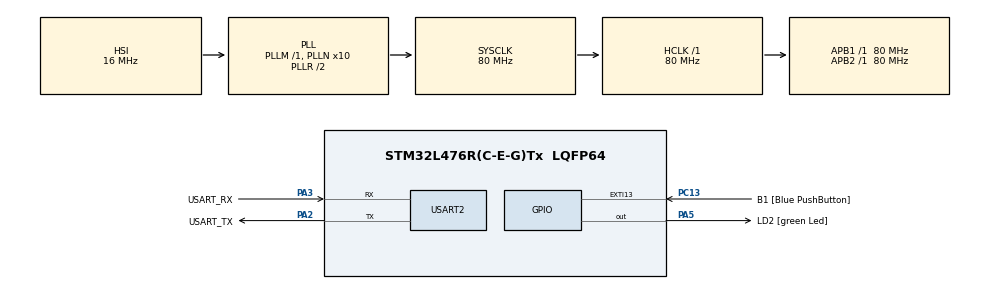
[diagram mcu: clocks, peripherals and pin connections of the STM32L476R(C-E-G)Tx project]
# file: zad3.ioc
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ARM.CMSIS-DSP.1.16.2.CMSISJjDSP=Source
Mcu.Family=STM32L4
Mcu.Name=STM32L476R(C-E-G)Tx
Mcu.Package=LQFP64
NVIC.PriorityGroup=NVIC_PRIORITYGROUP_4
PA13\ (JTMS-SWDIO).GPIO_Label=TMS
PA13\ (JTMS-SWDIO).Mode=Serial_Wire
PA13\ (JTMS-SWDIO).Signal=SYS_JTMS-SWDIO
PA14\ (JTCK-SWCLK).GPIO_Label=TCK
PA14\ (JTCK-SWCLK).Mode=Serial_Wire
PA14\ (JTCK-SWCLK).Signal=SYS_JTCK-SWCLK
PA2.GPIO_Label=USART_TX
PA2.GPIO_Mode=GPIO_MODE_AF_PP
PA2.GPIO_PuPd=GPIO_NOPULL
PA2.GPIO_Speed=GPIO_SPEED_FREQ_VERY_HIGH
PA2.Mode=Asynchronous
PA2.Signal=USART2_TX
PA3.GPIO_Label=USART_RX
PA3.GPIO_Mode=GPIO_MODE_AF_PP
PA3.GPIO_PuPd=GPIO_NOPULL
PA3.GPIO_Speed=GPIO_SPEED_FREQ_VERY_HIGH
PA3.Mode=Asynchronous
PA3.Signal=USART2_RX
PA5.GPIO_Label=LD2 [green Led]
PA5.GPIO_ModeDefaultOutputPP=GPIO_MODE_OUTPUT_PP
PA5.GPIO_PuPd=GPIO_NOPULL
PA5.GPIO_Speed=GPIO_SPEED_FREQ_LOW
PA5.Signal=GPIO_Output
PB3\ (JTDO-TRACESWO).GPIO_Label=SWO
PB3\ (JTDO-TRACESWO).Signal=SYS_JTDO-SWO
PC13.GPIO_Label=B1 [Blue PushButton]
PC13.GPIO_ModeDefaultEXTI=GPIO_MODE_IT_FALLING
PC13.GPIO_PuPd=GPIO_NOPULL
PC13.Signal=GPXTI13
PC14-OSC32_IN\ (PC14).Mode=LSE-External-Oscillator
PC14-OSC32_IN\ (PC14).Signal=RCC_OSC32_IN
PC15-OSC32_OUT\ (PC15).Mode=LSE-External-Oscillator
PC15-OSC32_OUT\ (PC15).Signal=RCC_OSC32_OUT
PH0-OSC_IN\ (PH0).Signal=RCC_OSC_IN
PH1-OSC_OUT\ (PH1).Signal=RCC_OSC_OUT
ProjectManager.HeapSize=0x200
ProjectManager.StackSize=0x400
ProjectManager.TargetToolchain=CMake
RCC.ADCFreq_Value=64000000
RCC.AHBFreq_Value=80000000
RCC.APB1Freq_Value=80000000
RCC.APB1TimFreq_Value=80000000
RCC.APB2Freq_Value=80000000
RCC.APB2TimFreq_Value=80000000
RCC.CortexFreq_Value=80000000
RCC.HCLKFreq_Value=80000000
RCC.HSE_VALUE=8000000
RCC.HSI_VALUE=16000000
RCC.MSI_VALUE=4000000
RCC.PLLN=10
RCC.PLLSourceVirtual=RCC_PLLSOURCE_HSI
RCC.PREFETCH_ENABLE=1
RCC.SYSCLKFreq_VALUE=80000000
RCC.SYSCLKSource=RCC_SYSCLKSOURCE_PLLCLK
RCC.USBFreq_Value=64000000
RCC.VCOOutputFreq_Value=160000000
USART2.VirtualMode-Asynchronous=VM_ASYNC
VP_ARM.CMSIS-DSP_VS_CMSISJjDSP_1.16.2_1.16.2.Mode=CMSISJjDSP
board=NUCLEO-L476RG

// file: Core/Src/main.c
/* USER CODE BEGIN Header */
/**
  ******************************************************************************
  * @file           : main.c
  * @brief          : Main program body
  ******************************************************************************
  * @attention
  *
  * Copyright (c) 2026 STMicroelectronics.
  * All rights reserved.
  *
  * This software is licensed under terms that can be found in the LICENSE file
  * in the root directory of this software component.
  * If no LICENSE file comes with this software, it is provided AS-IS.
  *
  ******************************************************************************
  */
/* USER CODE END Header */
#include "main.h"
#include "usart.h"
#include "gpio.h"

/* USER CODE BEGIN Includes */
#include <stdio.h>

#include "X3_vec.h"
#include "Y3_REF_vec.h"
#include "Y3_OUT_vec.h"
#include "Y3_vec.h"
#include "PID1_pid.h"

/* USER CODE END Includes */

void SystemClock_Config(void);

/* USER CODE BEGIN 0 */
int __io_putchar(char ch)
{
	uint8_t chx;
	if(ch == '\n')
	{
		chx = '\r';
		HAL_UART_Transmit(&huart2, &chx, 1, HAL_MAX_DELAY);
	}
	chx = ch;
	HAL_UART_Transmit(&huart2, &chx, 1, HAL_MAX_DELAY);
	return 1;
}

float32_t RMSE ( float32_t * y , float32_t * yref , uint32_t len )
{
float32_t sum_sq_error = 0;
for ( uint32_t i = 0; i < len ; i ++)
sum_sq_error += ( yref [ i ] - y [ i ]) *( yref [ i ] - y [ i ]) ;
return sqrtf ( sum_sq_error / len ) ;
}
/* USER CODE END 0 */

int main(void)
{

  /* MCU Configuration--------------------------------------------------------*/

  /* Reset of all peripherals, Initializes the Flash interface and the Systick. */
  HAL_Init();

  /* Configure the system clock */
  SystemClock_Config();

  /* Initialize all configured peripherals */
  MX_GPIO_Init();
  MX_USART2_UART_Init();
  /* USER CODE BEGIN 2 */
  PID1.Kp = PID1_KP;
  PID1.Ki = PID1_KI;
  PID1.Kd = PID1_KD;
  arm_pid_init_f32(&PID1, 1);

  float32_t Ts = 0.001f;
  float32_t K = 10.0f;
  float32_t T = 0.5f;

  float32_t error, control;
  float32_t y = 0.0f;

  for(int k = 0; k < X3_LEN; k++)
  {
      error = X3[k] - y;
      control = arm_pid_f32(&PID1, error);
      y = y + (Ts/T) * (-y + K*control);
      Y3[k] = y;
  }

  // obliczenie RMSE
  float32_t rmse = RMSE(Y3, Y3_OUT, Y3_OUT_LEN);
  printf("RMSE = %.5f\n", rmse);

  /* USER CODE END 2 */

  /* Infinite loop */
  while (1)
  {

  }
}

void SystemClock_Config(void)
{
  RCC_OscInitTypeDef RCC_OscInitStruct = {0};
  RCC_ClkInitTypeDef RCC_ClkInitStruct = {0};

  /** Configure the main internal regulator output voltage
  */
  if (HAL_PWREx_ControlVoltageScaling(PWR_REGULATOR_VOLTAGE_SCALE1) != HAL_OK)
  {
    Error_Handler();
  }

  /** Initializes the RCC Oscillators according to the specified parameters
  * in the RCC_OscInitTypeDef structure.
  */
  RCC_OscInitStruct.OscillatorType = RCC_OSCILLATORTYPE_HSI;
  RCC_OscInitStruct.HSIState = RCC_HSI_ON;
  RCC_OscInitStruct.HSICalibrationValue = RCC_HSICALIBRATION_DEFAULT;
  RCC_OscInitStruct.PLL.PLLState = RCC_PLL_ON;
  RCC_OscInitStruct.PLL.PLLSource = RCC_PLLSOURCE_HSI;
  RCC_OscInitStruct.PLL.PLLM = 1;
  RCC_OscInitStruct.PLL.PLLN = 10;
  RCC_OscInitStruct.PLL.PLLP = RCC_PLLP_DIV7;
  RCC_OscInitStruct.PLL.PLLQ = RCC_PLLQ_DIV2;
  RCC_OscInitStruct.PLL.PLLR = RCC_PLLR_DIV2;
  if (HAL_RCC_OscConfig(&RCC_OscInitStruct) != HAL_OK)
  {
    Error_Handler();
  }

  /** Initializes the CPU, AHB and APB buses clocks
  */
  RCC_ClkInitStruct.ClockType = RCC_CLOCKTYPE_HCLK|RCC_CLOCKTYPE_SYSCLK
                              |RCC_CLOCKTYPE_PCLK1|RCC_CLOCKTYPE_PCLK2;
  RCC_ClkInitStruct.SYSCLKSource = RCC_SYSCLKSOURCE_PLLCLK;
  RCC_ClkInitStruct.AHBCLKDivider = RCC_SYSCLK_DIV1;
  RCC_ClkInitStruct.APB1CLKDivider = RCC_HCLK_DIV1;
  RCC_ClkInitStruct.APB2CLKDivider = RCC_HCLK_DIV1;

  if (HAL_RCC_ClockConfig(&RCC_ClkInitStruct, FLASH_LATENCY_4) != HAL_OK)
  {
    Error_Handler();
  }
}

void Error_Handler(void)
{
  __disable_irq();
  while (1)
  {
  }
}
